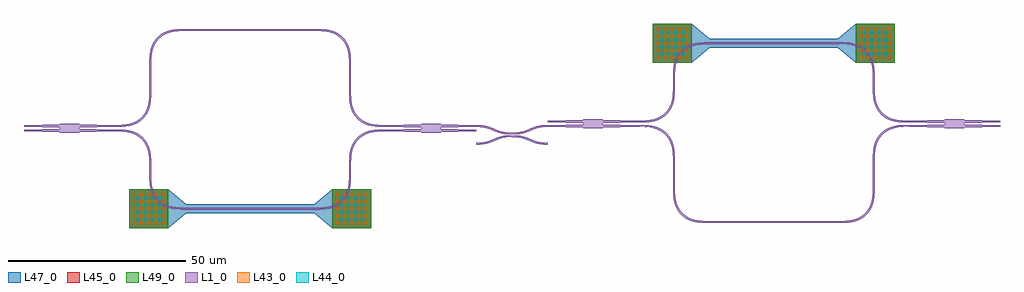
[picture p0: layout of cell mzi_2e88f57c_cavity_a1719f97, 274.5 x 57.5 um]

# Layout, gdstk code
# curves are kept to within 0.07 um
from math import pi, radians
import gdstk
lib = gdstk.Library(unit=1e-6, precision=1e-09)
def R(c, l, rs):  # rectangles x0, y0, x1, y1
    for r in rs: c.add(gdstk.rectangle(r[:2], r[2:], *l))
def P(c, l, *ps):  # polygons
    for p in ps: c.add(gdstk.Polygon(p, *l))
L1_0 = (1, 0)
L43_0 = (43, 0)
L44_0 = (44, 0)
L45_0 = (45, 0)
L47_0 = (47, 0)
L49_0 = (49, 0)

coupler_4e842e54 = lib.new_cell('coupler_4e842e54')
R(coupler_4e842e54, L1_0, [(0,-0.25,0.1,0.25), (0,0.45,0.1,0.95)])
P(coupler_4e842e54, L1_0, [(0,-0.25),(-1.601,-0.337),(-2.86,-0.566),(-3.894,-0.891),(-6.1,-1.789),(-7.428,-2.163),(-8.72,-2.348),(-10,-2.4),(-10,-1.9),(-8.399,-1.813),(-7.14,-1.584),(-6.106,-1.259),(-3.9,-0.361),(-2.572,0.013),(-1.28,0.198),(0,0.25)],
  [(0,0.95),(-1.601,1.037),(-2.86,1.266),(-3.894,1.591),(-6.1,2.489),(-7.428,2.863),(-8.72,3.048),(-10,3.1),(-10,2.6),(-8.399,2.513),(-7.14,2.284),(-6.106,1.959),(-3.9,1.061),(-2.572,0.687),(-1.28,0.502),(0,0.45)],
  [(0.1,0.95),(1.701,1.037),(2.96,1.266),(3.994,1.591),(6.2,2.489),(7.528,2.863),(8.82,3.048),(10.1,3.1),(10.1,2.6),(8.499,2.513),(7.24,2.284),(6.206,1.959),(4,1.061),(2.672,0.687),(1.38,0.502),(0.1,0.45)],
  [(0.1,-0.25),(1.701,-0.337),(2.96,-0.566),(3.994,-0.891),(6.2,-1.789),(7.528,-2.163),(8.82,-2.348),(10.1,-2.4),(10.1,-1.9),(8.499,-1.813),(7.24,-1.584),(6.206,-1.259),(4,-0.361),(2.672,0.013),(1.38,0.198),(0.1,0.25)])

mmi2x2 = lib.new_cell('mmi2x2')
R(mmi2x2, L1_0, [(0,-1.25,5.5,1.25)])
P(mmi2x2, L1_0, [(-10,-0.375),(0,-0.125),(0,-1.125),(-10,-0.875)],
  [(-10,0.875),(0,1.125),(0,0.125),(-10,0.375)],
  [(15.5,0.375),(5.5,0.125),(5.5,1.125),(15.5,0.875)],
  [(15.5,-0.875),(5.5,-1.125),(5.5,-0.125),(15.5,-0.375)])

bend_euler_9e0718a0 = lib.new_cell('bend_euler_9e0718a0')
P(bend_euler_9e0718a0, L1_0, [(0,-0.25),(2.724,-0.165),(3.761,-0.026),(4.739,0.201),(5.691,0.544),(6.428,0.918),(7.158,1.402),(7.859,2.003),(8.479,2.689),(9.033,3.488),(9.456,4.309),(9.799,5.261),(10.026,6.239),(10.165,7.276),(10.25,10),(9.75,10),(9.634,7.004),(9.463,5.971),(9.18,4.971),(8.508,3.59),(7.575,2.425),(6.41,1.492),(5.029,0.82),(4.029,0.537),(2.996,0.366),(0,0.25)])

straight_a4be237b = lib.new_cell('straight_a4be237b')
R(straight_a4be237b, L1_0, [(0,-0.25,7,0.25)])

straight_6870e926 = lib.new_cell('straight_6870e926')
R(straight_6870e926, L1_0, [(0,-0.25,0.1,0.25)])

straight_fba69bc3 = lib.new_cell('straight_fba69bc3')
R(straight_fba69bc3, L1_0, [(0,-0.25,2,0.25)])

straight_1aa74c1c = lib.new_cell('straight_1aa74c1c')
R(straight_1aa74c1c, L1_0, [(0,-0.25,18.05,0.25)])
R(straight_1aa74c1c, L47_0, [(0,-1.25,18.05,1.25)])

component_sequence_2b0ad = lib.new_cell('component_sequence_2b0ad5fc')
component_sequence_2b0ad.add(gdstk.Reference(straight_1aa74c1c, (0,0)))
component_sequence_2b0ad.add(gdstk.Reference(straight_1aa74c1c, (18.05,0)))

compass_8277d85c = lib.new_cell('compass_8277d85c')
R(compass_8277d85c, L47_0, [(-5.5,-5.5,5.5,5.5)])

compass_6419de30 = lib.new_cell('compass_6419de30')
R(compass_6419de30, L45_0, [(-5.5,-5.5,5.5,5.5)])

compass_0253aeff = lib.new_cell('compass_0253aeff')
R(compass_0253aeff, L49_0, [(-5.5,-5.5,5.5,5.5)])

via_ebd8e362 = lib.new_cell('via_ebd8e362')
R(via_ebd8e362, L44_0, [(-0.35,-0.35,0.35,0.35)])

via_fd13653e = lib.new_cell('via_fd13653e')
R(via_fd13653e, L43_0, [(-0.35,-0.35,0.35,0.35)])

via_stack_02e7e014 = lib.new_cell('via_stack_02e7e014')
via_stack_02e7e014.add(gdstk.Reference(compass_8277d85c, (0,0)))
via_stack_02e7e014.add(gdstk.Reference(compass_6419de30, (0,0)))
via_stack_02e7e014.add(gdstk.Reference(compass_0253aeff, (0,0)))
r = gdstk.Reference(via_ebd8e362, (-3,-3)); r.repetition = gdstk.Repetition(4, 4, v1=(2,0), v2=(0,2)); via_stack_02e7e014.add(r)
r = gdstk.Reference(via_fd13653e, (-4,-4)); r.repetition = gdstk.Repetition(5, 5, v1=(2,0), v2=(0,2)); via_stack_02e7e014.add(r)

taper_13d39a01 = lib.new_cell('taper_13d39a01')
P(taper_13d39a01, L47_0, [(0,5.5),(5,1.25),(5,-1.25),(0,-5.5)])

straight_heater_metal_u_ = lib.new_cell('straight_heater_metal_u_f37dff5c')
straight_heater_metal_u_.add(gdstk.Reference(component_sequence_2b0ad, (0,0)))
straight_heater_metal_u_.add(gdstk.Reference(via_stack_02e7e014, (-10.5,0)))
straight_heater_metal_u_.add(gdstk.Reference(via_stack_02e7e014, (46.6,0)))
straight_heater_metal_u_.add(gdstk.Reference(taper_13d39a01, (-5,0)))
straight_heater_metal_u_.add(gdstk.Reference(taper_13d39a01, (41.1,0), rotation=pi))

straight_fa3a3f2f = lib.new_cell('straight_fa3a3f2f')
R(straight_fa3a3f2f, L1_0, [(0,-0.25,0.09,0.25)])

straight_c804d8bd = lib.new_cell('straight_c804d8bd')
R(straight_c804d8bd, L1_0, [(0,-0.25,2,0.25)])

straight_4ae164bc = lib.new_cell('straight_4ae164bc')
R(straight_4ae164bc, L1_0, [(0,-0.25,0.01,0.25)])

straight_d494dd99 = lib.new_cell('straight_d494dd99')
R(straight_d494dd99, L1_0, [(0,-0.25,36.09,0.25)])

straight_32d14105 = lib.new_cell('straight_32d14105')
R(straight_32d14105, L1_0, [(0,-0.25,7,0.25)])

mzi_2e88f57c = lib.new_cell('mzi_2e88f57c')
mzi_2e88f57c.add(gdstk.Reference(mmi2x2, (0,0)))
mzi_2e88f57c.add(gdstk.Reference(mmi2x2, (107.2,0), rotation=pi, x_reflection=True))
mzi_2e88f57c.add(gdstk.Reference(bend_euler_9e0718a0, (15.5,-0.625), x_reflection=True))
mzi_2e88f57c.add(gdstk.Reference(straight_a4be237b, (25.5,-10.625), rotation=3*pi/2))
mzi_2e88f57c.add(gdstk.Reference(bend_euler_9e0718a0, (25.5,-17.625), rotation=3*pi/2))
mzi_2e88f57c.add(gdstk.Reference(straight_6870e926, (35.5,-27.625)))
mzi_2e88f57c.add(gdstk.Reference(bend_euler_9e0718a0, (15.5,0.625)))
mzi_2e88f57c.add(gdstk.Reference(straight_fba69bc3, (25.5,10.625), rotation=pi/2))
mzi_2e88f57c.add(gdstk.Reference(bend_euler_9e0718a0, (35.5,22.625), rotation=pi))
mzi_2e88f57c.add(gdstk.Reference(straight_heater_metal_u_, (35.5,22.625)))
mzi_2e88f57c.add(gdstk.Reference(bend_euler_9e0718a0, (71.69,22.625), x_reflection=True))
mzi_2e88f57c.add(gdstk.Reference(bend_euler_9e0718a0, (81.69,10.625), rotation=3*pi/2))
mzi_2e88f57c.add(gdstk.Reference(straight_fa3a3f2f, (71.6,22.625)))
mzi_2e88f57c.add(gdstk.Reference(straight_c804d8bd, (81.69,12.625), rotation=3*pi/2))
mzi_2e88f57c.add(gdstk.Reference(straight_4ae164bc, (91.69,0.625)))
mzi_2e88f57c.add(gdstk.Reference(bend_euler_9e0718a0, (71.69,-27.625)))
mzi_2e88f57c.add(gdstk.Reference(bend_euler_9e0718a0, (81.69,-10.625), rotation=pi/2, x_reflection=True))
mzi_2e88f57c.add(gdstk.Reference(straight_d494dd99, (35.6,-27.625)))
mzi_2e88f57c.add(gdstk.Reference(straight_32d14105, (81.69,-17.625), rotation=pi/2))
mzi_2e88f57c.add(gdstk.Reference(straight_4ae164bc, (91.69,-0.625)))

mzi_2e88f57c_cavity_a171 = lib.new_cell('mzi_2e88f57c_cavity_a1719f97')
mzi_2e88f57c_cavity_a171.add(gdstk.Reference(coupler_4e842e54, (0,0)))
mzi_2e88f57c_cavity_a171.add(gdstk.Reference(mzi_2e88f57c, (-20,2.225), rotation=pi))
mzi_2e88f57c_cavity_a171.add(gdstk.Reference(mzi_2e88f57c, (20.1,3.475)))

lib.write_gds('mzi_2e88f57c_cavity_a1719f97.gds')
